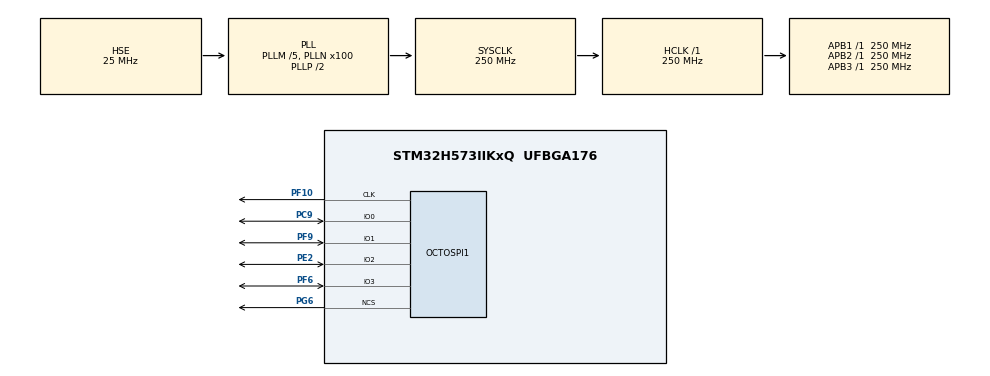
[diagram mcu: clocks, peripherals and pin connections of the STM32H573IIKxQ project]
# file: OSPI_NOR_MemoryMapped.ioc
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CORTEX_M33_NS.userName=CORTEX_M33
Mcu.Family=STM32H5
Mcu.Name=STM32H573IIKxQ
Mcu.Package=UFBGA176
NVIC.OCTOSPI1_IRQn=true\:0\:0\:false\:false\:true\:true\:true\:true
NVIC.PriorityGroup=NVIC_PRIORITYGROUP_4
OCTOSPI1.ChipSelectHighTimeCycle=1
OCTOSPI1.ClockMode=HAL_XSPI_CLOCK_MODE_0
OCTOSPI1.ClockPrescaler=10
OCTOSPI1.DelayHoldQuarterCycle=HAL_XSPI_DHQC_ENABLE
OCTOSPI1.FifoThresholdByte=4
OCTOSPI1.MemorySize=HAL_XSPI_SIZE_128MB
OCTOSPI1.MemoryType=HAL_XSPI_MEMTYPE_MICRON
OCTOSPI1.WrapSize=HAL_XSPI_WRAP_NOT_SUPPORTED
PB2.GPIO_Speed_High_Default=GPIO_SPEED_FREQ_HIGH
PB2.Signal=OCTOSPI1_DQS
PC0.GPIO_Speed_High_Default=GPIO_SPEED_FREQ_HIGH
PC0.Signal=OCTOSPI1_IO7
PC9.Mode=OCTOSPI1_IO[3\:0]
PC9.Signal=OCTOSPI1_IO0
PE2.GPIO_Speed_High_Default=GPIO_SPEED_FREQ_HIGH
PE2.Mode=OCTOSPI1_IO[3\:0]
PE2.Signal=OCTOSPI1_IO2
PF10.GPIO_Speed_High_Default=GPIO_SPEED_FREQ_HIGH
PF10.Mode=quad_mode
PF10.Signal=OCTOSPI1_CLK
PF6.GPIO_Speed_High_Default=GPIO_SPEED_FREQ_HIGH
PF6.Mode=OCTOSPI1_IO[3\:0]
PF6.Signal=OCTOSPI1_IO3
PF9.GPIO_Speed_High_Default=GPIO_SPEED_FREQ_HIGH
PF9.Mode=OCTOSPI1_IO[3\:0]
PF9.Signal=OCTOSPI1_IO1
PG6.GPIO_Speed_High_Default=GPIO_SPEED_FREQ_HIGH
PG6.Mode=quad_mode
PG6.Signal=OCTOSPI1_NCS
PG9.GPIO_Speed_High_Default=GPIO_SPEED_FREQ_HIGH
PG9.Signal=OCTOSPI1_IO6
PH0-OSC_IN(PH0).Mode=HSE-DIG-External-Clock-Source
PH0-OSC_IN(PH0).Signal=RCC_OSC_IN
PH2.GPIO_Speed_High_Default=GPIO_SPEED_FREQ_HIGH
PH2.Signal=OCTOSPI1_IO4
PH3.GPIO_Speed_High_Default=GPIO_SPEED_FREQ_HIGH
PH3.Signal=OCTOSPI1_IO5
ProjectManager.HeapSize=0x200
ProjectManager.StackSize=0x400
ProjectManager.TargetToolchain=STM32CubeIDE
RCC.ADCFreq_Value=250000000
RCC.AHBFreq_Value=250000000
RCC.APB1Freq_Value=250000000
RCC.APB1TimFreq_Value=250000000
RCC.APB2Freq_Value=250000000
RCC.APB2TimFreq_Value=250000000
RCC.APB3Freq_Value=250000000
RCC.CSI_VALUE=4000000
RCC.CortexFreq_Value=250000000
RCC.EPOD_VALUE=25000000
RCC.HCLKFreq_Value=250000000
RCC.HSE_VALUE=25000000
RCC.HSI48_VALUE=48000000
RCC.HSIDiv=RCC_HSI_DIV1
RCC.HSI_VALUE=64000000
RCC.LSE_VALUE=32768
RCC.LSIRC_VALUE=32000
RCC.OCTOSPIMCLockSelection=RCC_OSPICLKSOURCE_PLL2R
RCC.PLL2M=8
RCC.PLL2N=45
RCC.PLL2Source=RCC_PLL2_SOURCE_HSI
RCC.PLLM=5
RCC.PLLN=100
RCC.PLLSourceVirtual=RCC_PLL1_SOURCE_HSE
RCC.SYSCLKFreq_VALUE=250000000
RCC.SYSCLKSource=RCC_SYSCLKSOURCE_PLLCLK
RCC.USBFreq_Value=48000000
RCC.VCOOutputFreq_Value=500000000
VP_BOOTPATH_VS_BOOTPATH.Mode=BP_Activate
VP_ICACHE_VS_ICACHE.Mode=DefaultMode
VP_MEMORYMAP_VS_MEMORYMAP.Mode=CurAppReg
VP_PWR_VS_DBSignals.Mode=DisableDeadBatterySignals
VP_PWR_VS_LPOM.Mode=PowerOptimisation
VP_PWR_VS_SECSignals.Mode=Security/Privilege
board=custom

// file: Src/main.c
/* USER CODE BEGIN Header */
/**
  ******************************************************************************
  * @file    OSPI/OSPI_NOR_MemoryMapped/Src/main.c
  * @author  MCD Application Team
  * @brief   This example describes how to configure and use OctoSPI through
  *          the STM32H5xx HAL API.
  ******************************************************************************
  * @attention
  *
  * Copyright (c) 2023 STMicroelectronics.
  * All rights reserved.
  *
  * This software is licensed under terms that can be found in the LICENSE file
  * in the root directory of this software component.
  * If no LICENSE file comes with this software, it is provided AS-IS.
  *
  ******************************************************************************
  */
/* USER CODE END Header */
#include "main.h"

XSPI_HandleTypeDef hospi1;

/* USER CODE BEGIN PV */
__IO uint8_t CmdCplt;

/* Buffer used for transmission */
uint8_t aTxBuffer[] = " ****Memory-mapped OSPI communication****  ****Memory-mapped OSPI communication****  ****Memory-mapped OSPI communication****  ****Memory-mapped OSPI communication****  ****Memory-mapped OSPI communication****  ****Memory-mapped OSPI communication**** ";
/* USER CODE END PV */

void SystemClock_Config(void);
static void MX_GPIO_Init(void);
static void MX_ICACHE_Init(void);
static void MX_OCTOSPI1_Init(void);
/* USER CODE BEGIN PFP */
static void OSPI_WriteEnable(XSPI_HandleTypeDef *hospi);
static void OSPI_AutoPollingMemReady(XSPI_HandleTypeDef *hospi);
static void OSPI_OctalModeCfg(XSPI_HandleTypeDef *hospi);
/* USER CODE END PFP */

int main(void)
{
  /* USER CODE BEGIN 1 */
  XSPI_RegularCmdTypeDef sCommand = {0};
  XSPI_MemoryMappedTypeDef sMemMappedCfg = {0};
  uint32_t address = 0;
  uint16_t index;
  __IO uint8_t step = 0;
  __IO uint8_t *mem_addr;

  /* STM32H5xx HAL library initialization:
       - Systick timer is configured by default as source of time base, but user
             can eventually implement his proper time base source (a general purpose
             timer for example or other time source), keeping in mind that Time base
             duration should be kept 1ms since PPP_TIMEOUT_VALUEs are defined and
             handled in milliseconds basis.
       - Set NVIC Group Priority to 4
       - Low Level Initialization
     */
  /* USER CODE END 1 */

  /* MCU Configuration--------------------------------------------------------*/

  /* Reset of all peripherals, Initializes the Flash interface and the Systick. */
  HAL_Init();

  /* Configure the system clock */
  SystemClock_Config();

  /* USER CODE BEGIN SysInit */
//  BSP_LED_Init(LED1);
//  BSP_LED_Init(LED2);
//  BSP_LED_Init(LED3);
  /* USER CODE END SysInit */

  /* Initialize all configured peripherals */
  MX_GPIO_Init();
  MX_ICACHE_Init();
  MX_OCTOSPI1_Init();
  /* USER CODE BEGIN 2 */
  /* Configure the memory in octal mode ------------------------------------- */
  OSPI_OctalModeCfg(&hospi1);

  sCommand.InstructionMode    = HAL_XSPI_INSTRUCTION_8_LINES;
  sCommand.InstructionWidth   = HAL_XSPI_INSTRUCTION_16_BITS;
  sCommand.InstructionDTRMode = HAL_XSPI_INSTRUCTION_DTR_DISABLE;
  sCommand.AddressWidth       = HAL_XSPI_ADDRESS_32_BITS;
  sCommand.AddressDTRMode     = HAL_XSPI_ADDRESS_DTR_DISABLE;
  sCommand.AlternateBytesMode = HAL_XSPI_ALT_BYTES_NONE;
  sCommand.DataDTRMode        = HAL_XSPI_DATA_DTR_DISABLE;
  sCommand.DQSMode            = HAL_XSPI_DQS_DISABLE;
  sCommand.SIOOMode           = HAL_XSPI_SIOO_INST_EVERY_CMD;

  /* USER CODE END 2 */

  /* Infinite loop */
  /* USER CODE BEGIN WHILE */
  while (1)
  {
    switch(step)
    {
      case 0:
        CmdCplt = 0;

        /* Enable write operations ------------------------------------------ */
        OSPI_WriteEnable(&hospi1);

        /* Erasing Sequence ------------------------------------------------- */
        sCommand.OperationType = HAL_XSPI_OPTYPE_COMMON_CFG;
        sCommand.Instruction   = OCTAL_SECTOR_ERASE_CMD;
        sCommand.AddressMode   = HAL_XSPI_ADDRESS_8_LINES;
        sCommand.Address       = address;
        sCommand.DataMode      = HAL_XSPI_DATA_NONE;
        sCommand.DummyCycles   = 0;

        if (HAL_XSPI_Command_IT(&hospi1, &sCommand) != HAL_OK)
        {
          Error_Handler();
        }

        step++;
        break;

      case 1:
        if(CmdCplt != 0)
        {
          CmdCplt = 0;

          /* Configure automatic polling mode to wait for end of erase ------ */
          OSPI_AutoPollingMemReady(&hospi1);

          /* Enable write operations ---------------------------------------- */
          OSPI_WriteEnable(&hospi1);

          /* Memory-mapped mode configuration ------------------------------- */
          sCommand.OperationType = HAL_XSPI_OPTYPE_WRITE_CFG;
          sCommand.Instruction   = OCTAL_PAGE_PROG_CMD;
          sCommand.DataMode      = HAL_XSPI_DATA_8_LINES;
          sCommand.DataLength    = 1;
          sCommand.DQSMode       = HAL_XSPI_DQS_ENABLE;

          if (HAL_XSPI_Command(&hospi1, &sCommand, HAL_XSPI_TIMEOUT_DEFAULT_VALUE) != HAL_OK)
          {
            Error_Handler();
          }

          sCommand.OperationType = HAL_XSPI_OPTYPE_READ_CFG;
          sCommand.Instruction   = OCTAL_IO_READ_CMD;
          sCommand.DummyCycles   = DUMMY_CLOCK_CYCLES_READ;
          sCommand.DQSMode       = HAL_XSPI_DQS_DISABLE;

          if (HAL_XSPI_Command(&hospi1, &sCommand, HAL_XSPI_TIMEOUT_DEFAULT_VALUE) != HAL_OK)
          {
            Error_Handler();
          }

          sMemMappedCfg.TimeOutActivation  = HAL_XSPI_TIMEOUT_COUNTER_ENABLE;
          sMemMappedCfg.TimeoutPeriodClock = 0x50;
          if (HAL_XSPI_MemoryMapped(&hospi1, &sMemMappedCfg) != HAL_OK)
          {
            Error_Handler();
          }

          /* Writing Sequence ----------------------------------------------- */
          mem_addr = (uint8_t *)(OCTOSPI1_BASE + address);
          for (index = 0; index < BUFFERSIZE; index++)
          {
            *mem_addr = aTxBuffer[index];
            mem_addr++;
          }

          /* In memory-mapped mode, not possible to check if the memory is ready
             after the programming. So a delay corresponding to max page programming
             time is added */
          HAL_Delay(MEMORY_PAGE_PROG_DELAY);

          /* Reading Sequence ----------------------------------------------- */
          mem_addr = (uint8_t *)(OCTOSPI1_BASE + address);
          for (index = 0; index < BUFFERSIZE; index++)
          {
            if (*mem_addr != aTxBuffer[index])
            {
              BSP_LED_On(LED2);
            }
            mem_addr++;
          }
          BSP_LED_Toggle(LED1);
          HAL_Delay(50);

          address += OSPI_PAGE_SIZE;
          if(address >= OSPI_END_ADDR)
          {
            address = 0;
          }

          /* Abort OctoSPI driver to stop the memory-mapped mode ------------ */
          if (HAL_XSPI_Abort(&hospi1) != HAL_OK)
          {
            Error_Handler();
          }

          step = 0;
        }
        break;

      default :
        Error_Handler();
    }
    /* USER CODE END WHILE */

  }
}

void SystemClock_Config(void)
{
  RCC_OscInitTypeDef RCC_OscInitStruct = {0};
  RCC_ClkInitTypeDef RCC_ClkInitStruct = {0};

  /** Configure the main internal regulator output voltage
  */
  __HAL_PWR_VOLTAGESCALING_CONFIG(PWR_REGULATOR_VOLTAGE_SCALE0);

  while(!__HAL_PWR_GET_FLAG(PWR_FLAG_VOSRDY)) {}

  /** Initializes the RCC Oscillators according to the specified parameters
  * in the RCC_OscInitTypeDef structure.
  */
  RCC_OscInitStruct.OscillatorType = RCC_OSCILLATORTYPE_HSI|RCC_OSCILLATORTYPE_HSE;
  RCC_OscInitStruct.HSEState = RCC_HSE_BYPASS_DIGITAL;
  RCC_OscInitStruct.HSIState = RCC_HSI_ON;
  RCC_OscInitStruct.HSIDiv = RCC_HSI_DIV1;
  RCC_OscInitStruct.HSICalibrationValue = RCC_HSICALIBRATION_DEFAULT;
  RCC_OscInitStruct.PLL.PLLState = RCC_PLL_ON;
  RCC_OscInitStruct.PLL.PLLSource = RCC_PLL1_SOURCE_HSE;
  RCC_OscInitStruct.PLL.PLLM = 5;
  RCC_OscInitStruct.PLL.PLLN = 100;
  RCC_OscInitStruct.PLL.PLLP = 2;
  RCC_OscInitStruct.PLL.PLLQ = 2;
  RCC_OscInitStruct.PLL.PLLR = 2;
  RCC_OscInitStruct.PLL.PLLRGE = RCC_PLL1_VCIRANGE_2;
  RCC_OscInitStruct.PLL.PLLVCOSEL = RCC_PLL1_VCORANGE_WIDE;
  RCC_OscInitStruct.PLL.PLLFRACN = 0;
  if (HAL_RCC_OscConfig(&RCC_OscInitStruct) != HAL_OK)
  {
    Error_Handler();
  }

  /** Initializes the CPU, AHB and APB buses clocks
  */
  RCC_ClkInitStruct.ClockType = RCC_CLOCKTYPE_HCLK|RCC_CLOCKTYPE_SYSCLK
                              |RCC_CLOCKTYPE_PCLK1|RCC_CLOCKTYPE_PCLK2
                              |RCC_CLOCKTYPE_PCLK3;
  RCC_ClkInitStruct.SYSCLKSource = RCC_SYSCLKSOURCE_PLLCLK;
  RCC_ClkInitStruct.AHBCLKDivider = RCC_SYSCLK_DIV1;
  RCC_ClkInitStruct.APB1CLKDivider = RCC_HCLK_DIV1;
  RCC_ClkInitStruct.APB2CLKDivider = RCC_HCLK_DIV1;
  RCC_ClkInitStruct.APB3CLKDivider = RCC_HCLK_DIV1;

  if (HAL_RCC_ClockConfig(&RCC_ClkInitStruct, FLASH_LATENCY_5) != HAL_OK)
  {
    Error_Handler();
  }
}

static void MX_ICACHE_Init(void)
{

  /** Enable instruction cache (default 2-ways set associative cache)
  */
  if (HAL_ICACHE_Enable() != HAL_OK)
  {
    Error_Handler();
  }

}

static void MX_OCTOSPI1_Init(void)
{

  /* OCTOSPI1 parameter configuration*/
  hospi1.Instance = OCTOSPI1;
  hospi1.Init.FifoThresholdByte = 4;
  hospi1.Init.MemoryMode = HAL_XSPI_SINGLE_MEM;
  hospi1.Init.MemoryType = HAL_XSPI_MEMTYPE_MICRON;
  hospi1.Init.MemorySize = HAL_XSPI_SIZE_128MB;
  hospi1.Init.ChipSelectHighTimeCycle = 1;
  hospi1.Init.FreeRunningClock = HAL_XSPI_FREERUNCLK_DISABLE;
  hospi1.Init.ClockMode = HAL_XSPI_CLOCK_MODE_0;
  hospi1.Init.WrapSize = HAL_XSPI_WRAP_NOT_SUPPORTED;
  hospi1.Init.ClockPrescaler = 10;
  hospi1.Init.SampleShifting = HAL_XSPI_SAMPLE_SHIFT_NONE;
  hospi1.Init.DelayHoldQuarterCycle = HAL_XSPI_DHQC_ENABLE;
  hospi1.Init.ChipSelectBoundary = HAL_XSPI_BONDARYOF_NONE;
  hospi1.Init.DelayBlockBypass = HAL_XSPI_DELAY_BLOCK_BYPASS;
  hospi1.Init.Refresh = 0;
  if (HAL_XSPI_Init(&hospi1) != HAL_OK)
  {
    Error_Handler();
  }

}

static void MX_GPIO_Init(void)
{

  /* GPIO Ports Clock Enable */
  __HAL_RCC_GPIOG_CLK_ENABLE();
  __HAL_RCC_GPIOE_CLK_ENABLE();
  __HAL_RCC_GPIOC_CLK_ENABLE();
  __HAL_RCC_GPIOF_CLK_ENABLE();
  __HAL_RCC_GPIOH_CLK_ENABLE();
  __HAL_RCC_GPIOB_CLK_ENABLE();

}

/* USER CODE BEGIN 4 */
/**
  * @brief  Command completed callback.
  * @param  hospi: OSPI handle
  * @retval None
  */
void HAL_XSPI_CmdCpltCallback(XSPI_HandleTypeDef *hospi)
{
  CmdCplt++;
}

/**
  * @brief  Transfer Error callback.
  * @param  hospi: OSPI handle
  * @retval None
  */
void HAL_XSPI_ErrorCallback(XSPI_HandleTypeDef *hospi)
{
  Error_Handler();
}

/**
  * @brief  This function send a Write Enable and wait it is effective.
  * @param  hospi: OSPI handle
  * @retval None
  */
static void OSPI_WriteEnable(XSPI_HandleTypeDef *hospi)
{
  XSPI_RegularCmdTypeDef  sCommand = {0};
  XSPI_AutoPollingTypeDef sConfig = {0};

  /* Enable write operations ------------------------------------------ */
  sCommand.OperationType      = HAL_XSPI_OPTYPE_COMMON_CFG;
  sCommand.Instruction        = OCTAL_WRITE_ENABLE_CMD;
  sCommand.InstructionMode    = HAL_XSPI_INSTRUCTION_8_LINES;
  sCommand.InstructionWidth   = HAL_XSPI_INSTRUCTION_16_BITS;
  sCommand.InstructionDTRMode = HAL_XSPI_INSTRUCTION_DTR_DISABLE;
  sCommand.AddressMode        = HAL_XSPI_ADDRESS_NONE;
  sCommand.AlternateBytesMode = HAL_XSPI_ALT_BYTES_NONE;
  sCommand.DataMode           = HAL_XSPI_DATA_NONE;
  sCommand.DummyCycles        = 0;
  sCommand.DQSMode            = HAL_XSPI_DQS_DISABLE;
  sCommand.SIOOMode           = HAL_XSPI_SIOO_INST_EVERY_CMD;

  if (HAL_XSPI_Command(hospi, &sCommand, HAL_XSPI_TIMEOUT_DEFAULT_VALUE) != HAL_OK)
  {
    Error_Handler();
  }

  /* Configure automatic polling mode to wait for write enabling ---- */
  sCommand.Instruction    = OCTAL_READ_STATUS_REG_CMD;
  sCommand.Address        = 0x0;
  sCommand.AddressMode    = HAL_XSPI_ADDRESS_8_LINES;
  sCommand.AddressWidth   = HAL_XSPI_ADDRESS_32_BITS;
  sCommand.AddressDTRMode = HAL_XSPI_ADDRESS_DTR_DISABLE;
  sCommand.DataMode       = HAL_XSPI_DATA_8_LINES;
  sCommand.DataDTRMode    = HAL_XSPI_DATA_DTR_DISABLE;
  sCommand.DataLength     = 1;
  sCommand.DummyCycles    = DUMMY_CLOCK_CYCLES_READ_REG;

  if (HAL_XSPI_Command(hospi, &sCommand, HAL_XSPI_TIMEOUT_DEFAULT_VALUE) != HAL_OK)
  {
    Error_Handler();
  }

  sConfig.MatchValue    = WRITE_ENABLE_MATCH_VALUE;
  sConfig.MatchMask     = WRITE_ENABLE_MASK_VALUE;
  sConfig.MatchMode     = HAL_XSPI_MATCH_MODE_AND;
  sConfig.IntervalTime  = AUTO_POLLING_INTERVAL;
  sConfig.AutomaticStop = HAL_XSPI_AUTOMATIC_STOP_ENABLE;

  if (HAL_XSPI_AutoPolling(hospi, &sConfig, HAL_XSPI_TIMEOUT_DEFAULT_VALUE) != HAL_OK)
  {
    Error_Handler();
  }
}

/**
  * @brief  This function read the SR of the memory and wait the EOP.
  * @param  hospi: OSPI handle
  * @retval None
  */
static void OSPI_AutoPollingMemReady(XSPI_HandleTypeDef *hospi)
{
  XSPI_RegularCmdTypeDef  sCommand = {0};
  XSPI_AutoPollingTypeDef sConfig = {0};

  /* Configure automatic polling mode to wait for memory ready ------ */
  sCommand.OperationType      = HAL_XSPI_OPTYPE_COMMON_CFG;
  sCommand.Instruction        = OCTAL_READ_STATUS_REG_CMD;
  sCommand.InstructionMode    = HAL_XSPI_INSTRUCTION_8_LINES;
  sCommand.InstructionWidth   = HAL_XSPI_INSTRUCTION_16_BITS;
  sCommand.InstructionDTRMode = HAL_XSPI_INSTRUCTION_DTR_DISABLE;
  sCommand.Address            = 0x0;
  sCommand.AddressMode        = HAL_XSPI_ADDRESS_8_LINES;
  sCommand.AddressWidth       = HAL_XSPI_ADDRESS_32_BITS;
  sCommand.AddressDTRMode     = HAL_XSPI_ADDRESS_DTR_DISABLE;
  sCommand.AlternateBytesMode = HAL_XSPI_ALT_BYTES_NONE;
  sCommand.DataMode           = HAL_XSPI_DATA_8_LINES;
  sCommand.DataDTRMode        = HAL_XSPI_DATA_DTR_DISABLE;
  sCommand.DataLength         = 1;
  sCommand.DummyCycles        = DUMMY_CLOCK_CYCLES_READ_REG;
  sCommand.DQSMode            = HAL_XSPI_DQS_DISABLE;
  sCommand.SIOOMode           = HAL_XSPI_SIOO_INST_EVERY_CMD;

  if (HAL_XSPI_Command(hospi, &sCommand, HAL_XSPI_TIMEOUT_DEFAULT_VALUE) != HAL_OK)
  {
    Error_Handler();
  }

  sConfig.MatchValue    = MEMORY_READY_MATCH_VALUE;
  sConfig.MatchMask     = MEMORY_READY_MASK_VALUE;
  sConfig.MatchMode     = HAL_XSPI_MATCH_MODE_AND;
  sConfig.IntervalTime  = AUTO_POLLING_INTERVAL;
  sConfig.AutomaticStop = HAL_XSPI_AUTOMATIC_STOP_ENABLE;

  if (HAL_XSPI_AutoPolling(hospi, &sConfig, HAL_XSPI_TIMEOUT_DEFAULT_VALUE) != HAL_OK)
  {
    Error_Handler();
  }
}

/**
  * @brief  This function configure the memory in Octal mode.
  * @param  hospi: OSPI handle
  * @retval None
  */
static void OSPI_OctalModeCfg(XSPI_HandleTypeDef *hospi)
{
  XSPI_RegularCmdTypeDef  sCommand = {0};
  XSPI_AutoPollingTypeDef sConfig = {0};
  uint8_t reg;

  /* Enable write operations ---------------------------------------- */
  sCommand.OperationType      = HAL_XSPI_OPTYPE_COMMON_CFG;
  sCommand.Instruction        = WRITE_ENABLE_CMD;
  sCommand.InstructionMode    = HAL_XSPI_INSTRUCTION_1_LINE;
  sCommand.InstructionWidth   = HAL_XSPI_INSTRUCTION_8_BITS;
  sCommand.InstructionDTRMode = HAL_XSPI_INSTRUCTION_DTR_DISABLE;
  sCommand.AddressMode        = HAL_XSPI_ADDRESS_NONE;
  sCommand.AlternateBytesMode = HAL_XSPI_ALT_BYTES_NONE;
  sCommand.DataMode           = HAL_XSPI_DATA_NONE;
  sCommand.DummyCycles        = 0;
  sCommand.DQSMode            = HAL_XSPI_DQS_DISABLE;
  sCommand.SIOOMode           = HAL_XSPI_SIOO_INST_EVERY_CMD;

  if (HAL_XSPI_Command(hospi, &sCommand, HAL_XSPI_TIMEOUT_DEFAULT_VALUE) != HAL_OK)
  {
    Error_Handler();
  }

  // My attempt to trying to fetch the chip ID:
    uint8_t commandToFetchID[2] = {0x9F,0};
    uint8_t chipId[2] = {0}

    HAL_StatusTypeDef errorSendCommand = HAL_XSPI_Transmit(hospi, commandToFetchID, HAL_XSPI_TIMEOUT_DEFAULT_VALUE);

    HAL_StatusTypeDef errorReceiveCommand = HAL_XSPI_Receive(hospi, chipId, HAL_XSPI_TIMEOUT_DEFAULT_VALUE);

  /* Configure automatic polling mode to wait for write enabling ---- */
  sCommand.Instruction = READ_STATUS_REG_CMD;
  sCommand.DataMode    = HAL_XSPI_DATA_1_LINE;
  sCommand.DataDTRMode = HAL_XSPI_DATA_DTR_DISABLE;
  sCommand.DataLength  = 1;

  if (HAL_XSPI_Command(hospi, &sCommand, HAL_XSPI_TIMEOUT_DEFAULT_VALUE) != HAL_OK)
  {
    Error_Handler();
  }

  sConfig.MatchValue    = WRITE_ENABLE_MATCH_VALUE;
  sConfig.MatchMask     = WRITE_ENABLE_MASK_VALUE;
  sConfig.MatchMode     = HAL_XSPI_MATCH_MODE_AND;
  sConfig.IntervalTime  = AUTO_POLLING_INTERVAL;
  sConfig.AutomaticStop = HAL_XSPI_AUTOMATIC_STOP_ENABLE;

  if (HAL_XSPI_AutoPolling(hospi, &sConfig, HAL_XSPI_TIMEOUT_DEFAULT_VALUE) != HAL_OK)
  {
    Error_Handler();
  }

  /* Write Configuration register 2 (with new dummy cycles) --------- */
  sCommand.Instruction    = WRITE_CFG_REG_2_CMD;
  sCommand.Address        = CONFIG_REG2_ADDR3;
  sCommand.AddressMode    = HAL_XSPI_ADDRESS_1_LINE;
  sCommand.AddressWidth   = HAL_XSPI_ADDRESS_32_BITS;
  sCommand.AddressDTRMode = HAL_XSPI_ADDRESS_DTR_DISABLE;

  if (HAL_XSPI_Command(hospi, &sCommand, HAL_XSPI_TIMEOUT_DEFAULT_VALUE) != HAL_OK)
  {
    Error_Handler();
  }

  reg = CR2_DUMMY_CYCLES_66MHZ;

  if (HAL_XSPI_Transmit(hospi, &reg, HAL_XSPI_TIMEOUT_DEFAULT_VALUE) != HAL_OK)
  {
    Error_Handler();
  }

  /* Wait that the memory is ready ---------------------------------- */
  sCommand.Instruction = READ_STATUS_REG_CMD;
  sCommand.AddressMode = HAL_XSPI_ADDRESS_NONE;

  if (HAL_XSPI_Command(hospi, &sCommand, HAL_XSPI_TIMEOUT_DEFAULT_VALUE) != HAL_OK)
  {
    Error_Handler();
  }

  sConfig.MatchValue = MEMORY_READY_MATCH_VALUE;
  sConfig.MatchMask  = MEMORY_READY_MASK_VALUE;

  if (HAL_XSPI_AutoPolling(hospi, &sConfig, HAL_XSPI_TIMEOUT_DEFAULT_VALUE) != HAL_OK)
  {
    Error_Handler();
  }

  /* Enable write operations ---------------------------------------- */
  sCommand.Instruction = WRITE_ENABLE_CMD;
  sCommand.DataMode    = HAL_XSPI_DATA_NONE;

  if (HAL_XSPI_Command(hospi, &sCommand, HAL_XSPI_TIMEOUT_DEFAULT_VALUE) != HAL_OK)
  {
    Error_Handler();
  }

  /* Configure automatic polling mode to wait for write enabling ---- */
  sCommand.Instruction = READ_STATUS_REG_CMD;
  sCommand.DataMode    = HAL_XSPI_DATA_1_LINE;

  if (HAL_XSPI_Command(hospi, &sCommand, HAL_XSPI_TIMEOUT_DEFAULT_VALUE) != HAL_OK)
  {
    Error_Handler();
  }

  sConfig.MatchValue = WRITE_ENABLE_MATCH_VALUE;
  sConfig.MatchMask  = WRITE_ENABLE_MASK_VALUE;

  if (HAL_XSPI_AutoPolling(hospi, &sConfig, HAL_XSPI_TIMEOUT_DEFAULT_VALUE) != HAL_OK)
  {
    Error_Handler();
  }

  /* Write Configuration register 2 (with octal mode) --------------- */
  sCommand.Instruction = WRITE_CFG_REG_2_CMD;
  sCommand.Address     = CONFIG_REG2_ADDR1;
  sCommand.AddressMode = HAL_XSPI_ADDRESS_1_LINE;

  if (HAL_XSPI_Command(hospi, &sCommand, HAL_XSPI_TIMEOUT_DEFAULT_VALUE) != HAL_OK)
  {
    Error_Handler();
  }

  reg = CR2_STR_OPI_ENABLE;

  if (HAL_XSPI_Transmit(hospi, &reg, HAL_XSPI_TIMEOUT_DEFAULT_VALUE) != HAL_OK)
  {
    Error_Handler();
  }

  /* Wait that the configuration is effective and check that memory is ready */
  HAL_Delay(MEMORY_REG_WRITE_DELAY);

  /* Wait that the memory is ready ---------------------------------- */
  OSPI_AutoPollingMemReady(hospi);
}
/* USER CODE END 4 */

void Error_Handler(void)
{
  /* USER CODE BEGIN Error_Handler_Debug */
  BSP_LED_On(LED2);

  /* User may add here some code to deal with this error */
  while(1)
  {
  }
  /* USER CODE END Error_Handler_Debug */
}
